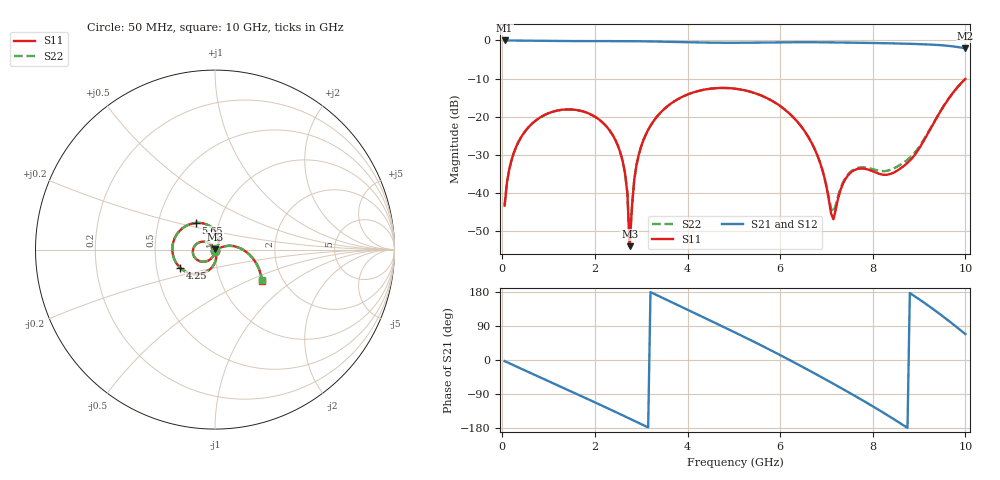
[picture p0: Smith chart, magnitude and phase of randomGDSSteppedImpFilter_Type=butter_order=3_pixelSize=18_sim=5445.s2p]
! freq	dB(S11)	phase(S11)	dB(S12)	phase(S12)
!  dB(S21)	phase(S21)	dB(S22)	phase(S22)
!S-par simulation data
#  GHz  S  DB  R 50
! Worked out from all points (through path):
!   200 points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, 50 MHz to 10 GHz, reference 50 ohm
!   highest |S21| = 0.00 dB at 50 MHz (marker M1); lowest = -2.1 dB at 10 GHz (marker M2)
!   group delay of S21, straight-line fit = 175 ps
!   lowest |S11| = -54.0 dB at 2.75 GHz (marker M3), VSWR 1.00, Z = 49.8 + j0.0667 ohm
!   |S11| at or under -10 dB: start of sweep to end of sweep
!   |S22| runs from -53.8 to -10.1 dB; largest |S21 - S12| = 0
!   S11 on the Smith chart (normalised r, x): 50 MHz: 1.00, -0.01; 4.25 GHz: 0.66, -0.14; 5.65 GHz: 0.78, +0.24; 10 GHz: 1.57, -0.60
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0.05  -43.36 -92.1  -0.00 -2.9  -0.00 -2.9  -43.36 -92.1
0.2  -31.37 -101.0  -0.02 -11.3  -0.02 -11.3  -31.37 -101.0
0.55  -23.01 -121.0  -0.06 -31.0  -0.06 -31.0  -23.01 -121.0
1.15  -18.52 -154.9  -0.14 -64.4  -0.14 -64.4  -18.52 -154.9
1.75  -18.66 171.6  -0.18 -97.7  -0.18 -97.7  -18.66 171.6
2.55  -29.49 126.8  -0.18 -143.1  -0.18 -143.1  -29.49 126.9
2.7  -39.98 119.6  -0.19 -151.8  -0.19 -151.8  -39.97 120.0
2.75  -54.02 160.4  -0.19 -154.7  -0.19 -154.7  -53.82 161.7
2.85  -36.50 -72.5  -0.20 -160.5  -0.20 -160.5  -36.50 -72.8
2.95  -29.85 -77.5  -0.21 -166.3  -0.21 -166.3  -29.85 -77.7
3.4  -19.17 -103.2  -0.30 167.4  -0.30 167.4  -19.17 -103.3
4.25  -13.22 -152.1  -0.53 118.0  -0.53 118.0  -13.22 -152.2
5.05  -12.70 161.6  -0.61 71.2  -0.61 71.2  -12.70 161.5
5.65  -14.76 125.6  -0.54 34.9  -0.54 34.9  -14.76 125.6
6.2  -19.19 91.5  -0.47 0.2  -0.47 0.2  -19.19 91.6
6.7  -27.38 61.6  -0.47 -32.5  -0.47 -32.5  -27.36 62.3
7.15  -46.94 123.2  -0.52 -62.7  -0.52 -62.7  -45.12 121.1
7.55  -34.44 158.7  -0.58 -90.2  -0.58 -90.2  -34.20 154.2
8.35  -35.17 56.4  -0.75 -148.1  -0.75 -148.1  -34.10 53.1
9.1  -26.37 19.7  -1.01 152.0  -1.01 152.0  -26.10 18.0
9.6  -15.97 -0.8  -1.38 107.2  -1.38 107.2  -15.94 -0.9
10  -10.09 -33.4  -2.07 68.4  -2.07 68.4  -10.08 -33.0
